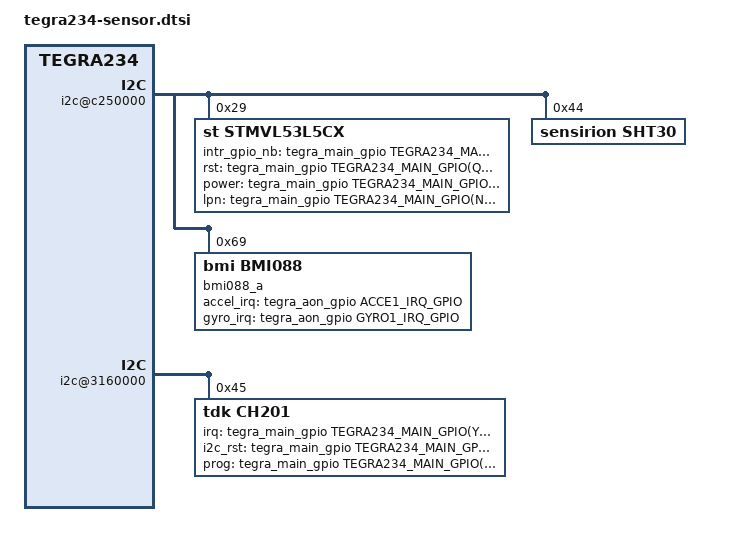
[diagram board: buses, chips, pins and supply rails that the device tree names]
/*
 * Copyright (c) 2023, Direct Drive Tech.  All rights reserved.
 *
 * This program is free software; you can redistribute it and/or modify
 * it under the terms of the GNU General Public License as published by
 * the Free Software Foundation; version 2 of the License.
 *
 * This program is distributed in the hope that it will be useful, but WITHOUT
 * ANY WARRANTY; without even the implied warranty of MERCHANTABILITY or
 * FITNESS FOR A PARTICULAR PURPOSE.  See the GNU General Public License for
 * more details.
 */

/ {
	i2c@c250000 {
		stmvl53l5cx: stmvl53l5cx {
			compatible = "st,stmvl53l5cx";
			reg = <0x29>;
			/* intr_gpio_nb = <&tegra_main_gpio TEGRA234_MAIN_GPIO(N, 1) GPIO_ACTIVE_LOW>; //GPIO12
			rst_gpio = <&tegra_main_gpio TEGRA234_MAIN_GPIO(H, 0) GPIO_ACTIVE_HIGH>; //GPIO13
			power_gpio = <&tegra_main_gpio TEGRA234_MAIN_GPIO(G, 6) GPIO_ACTIVE_HIGH>; //GPIO07
			lpn_gpio = <&tegra_main_gpio TEGRA234_MAIN_GPIO(Q, 6) GPIO_ACTIVE_HIGH>; //GPIO11 */
			intr_gpio_nb = <&tegra_main_gpio TEGRA234_MAIN_GPIO(AC, 6) GPIO_ACTIVE_LOW>; //GPIO9
			rst_gpio = <&tegra_main_gpio TEGRA234_MAIN_GPIO(Q, 6) GPIO_ACTIVE_HIGH>; //GPIO11
			power_gpio = <&tegra_main_gpio TEGRA234_MAIN_GPIO(Z, 4) GPIO_ACTIVE_HIGH>; //SPI0_MISO
			lpn_gpio = <&tegra_main_gpio TEGRA234_MAIN_GPIO(N, 1) GPIO_ACTIVE_HIGH>; //GPIO12
			status = "okay";
		};

		sht30: sht30 {
			compatible = "sensirion,sht30";
			reg = <0x44>;
			status = "okay";
		};
		
		bmi088_a@69 {
			compatible = "bmi,bmi088";
			reg = <0x69>; // <-- Must be gyroscope I2C address
			accel_i2c_addr = <0x19>; // Must be specified
			accel_irq_gpio = <&tegra_aon_gpio ACCE1_IRQ_GPIO GPIO_ACTIVE_HIGH>;
			gyro_irq_gpio = <&tegra_aon_gpio GYRO1_IRQ_GPIO GPIO_ACTIVE_HIGH>;
			accel_matrix = [01 00 00 00 01 00 00 00 01];
			gyro_matrix = [01 00 00 00 01 00 00 00 01];
		};
	};

	i2c@3160000{
		ch201: ch201@45 {
			compatible = "tdk,ch201";
			reg = <0x45>; // <-- Must be prog I2C address
			app-i2c-addr = <0x29>;

			irq_gpios = <&tegra_main_gpio TEGRA234_MAIN_GPIO(Y, 4) GPIO_ACTIVE_LOW>; //SPI1_CSI1
			i2c_rst_gpios = <&tegra_main_gpio TEGRA234_MAIN_GPIO(Y, 2) GPIO_ACTIVE_HIGH>; //SPI2_MOSI
			prog_gpios = <&tegra_main_gpio TEGRA234_MAIN_GPIO(Y, 3) GPIO_ACTIVE_HIGH>; //SPI1_CSI0
			status = "okay";
		};
	};
};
